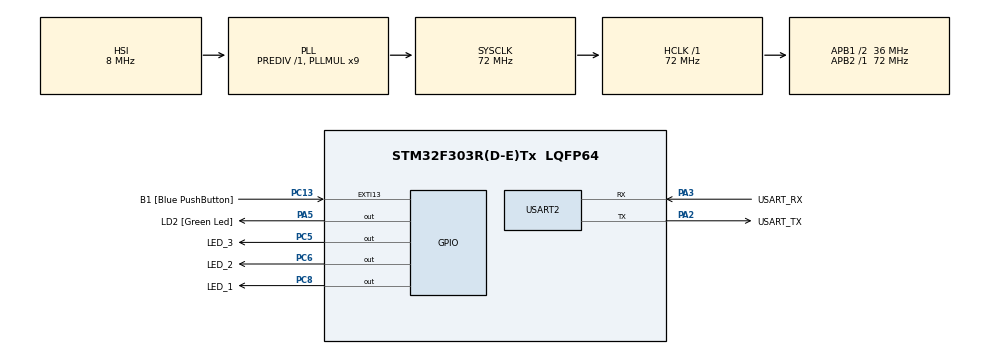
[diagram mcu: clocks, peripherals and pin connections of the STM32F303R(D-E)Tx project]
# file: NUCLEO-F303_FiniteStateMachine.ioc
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Mcu.Family=STM32F3
Mcu.Name=STM32F303R(D-E)Tx
Mcu.Package=LQFP64
NVIC.EXTI15_10_IRQn=true\:0\:0\:false\:false\:true\:true\:true\:true
NVIC.PriorityGroup=NVIC_PRIORITYGROUP_0
PA13.GPIO_Label=TMS
PA13.Mode=Serial_Wire
PA13.Signal=SYS_JTMS-SWDIO
PA14.GPIO_Label=TCK
PA14.Mode=Serial_Wire
PA14.Signal=SYS_JTCK-SWCLK
PA2.GPIO_Label=USART_TX
PA2.GPIO_Mode=GPIO_MODE_AF_PP
PA2.GPIO_PuPd=GPIO_NOPULL
PA2.GPIO_Speed=GPIO_SPEED_FREQ_LOW
PA2.Mode=Asynchronous
PA2.Signal=USART2_TX
PA3.GPIO_Label=USART_RX
PA3.GPIO_Mode=GPIO_MODE_AF_PP
PA3.GPIO_PuPd=GPIO_NOPULL
PA3.GPIO_Speed=GPIO_SPEED_FREQ_LOW
PA3.Mode=Asynchronous
PA3.Signal=USART2_RX
PA5.GPIO_Label=LD2 [Green Led]
PA5.GPIO_Mode=GPIO_MODE_OUTPUT_PP
PA5.GPIO_PuPd=GPIO_NOPULL
PA5.GPIO_Speed=GPIO_SPEED_FREQ_LOW
PA5.Signal=GPIO_Output
PB3.GPIO_Label=SWO
PB3.Signal=SYS_JTDO-TRACESWO
PC13.GPIO_Label=B1 [Blue PushButton]
PC13.GPIO_ModeDefaultEXTI=GPIO_MODE_IT_FALLING
PC13.Signal=GPXTI13
PC14-OSC32_IN.Mode=LSE-External-Oscillator
PC14-OSC32_IN.Signal=RCC_OSC32_IN
PC15-OSC32_OUT.Mode=LSE-External-Oscillator
PC15-OSC32_OUT.Signal=RCC_OSC32_OUT
PC5.GPIO_Label=LED_3
PC5.Signal=GPIO_Output
PC6.GPIO_Label=LED_2
PC6.Signal=GPIO_Output
PC8.GPIO_Label=LED_1
PC8.Signal=GPIO_Output
PF0-OSC_IN.Mode=HSE-External-Clock-Source
PF0-OSC_IN.Signal=RCC_OSC_IN
PF1-OSC_OUT.Signal=RCC_OSC_OUT
ProjectManager.HeapSize=0x200
ProjectManager.StackSize=0x400
ProjectManager.TargetToolchain=CMake
RCC.AHBFreq_Value=72000000
RCC.APB1CLKDivider=RCC_HCLK_DIV2
RCC.APB1Freq_Value=36000000
RCC.APB1TimFreq_Value=72000000
RCC.APB2Freq_Value=72000000
RCC.APB2TimFreq_Value=72000000
RCC.CortexFreq_Value=72000000
RCC.HCLKFreq_Value=72000000
RCC.HSE_VALUE=8000000
RCC.HSI_VALUE=8000000
RCC.PLLM=8
RCC.PLLMUL=RCC_PLL_MUL9
RCC.PLLN=336
RCC.PLLP=RCC_PLLP_DIV4
RCC.PLLQ=7
RCC.RCC_PLLsource_Clock_Source_FROM_HSE=RCC_HSE_PREDIV_DIV2
RCC.SYSCLKFreq_VALUE=72000000
RCC.SYSCLKSourceVirtual=RCC_SYSCLKSOURCE_PLLCLK
RCC.USBFreq_Value=72000000
USART2.VirtualMode-Asynchronous=VM_ASYNC
board=NUCLEO-F303RE

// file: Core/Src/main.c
/* USER CODE BEGIN Header */
/**
  ******************************************************************************
  * @file           : main.c
  * @brief          : Main program body
  ******************************************************************************
  * @attention
  *
  * Copyright (c) 2026 STMicroelectronics.
  * All rights reserved.
  *
  * This software is licensed under terms that can be found in the LICENSE file
  * in the root directory of this software component.
  * If no LICENSE file comes with this software, it is provided AS-IS.
  *
  ******************************************************************************
  */
/* USER CODE END Header */
#include "main.h"

/* USER CODE BEGIN Includes */
#include "fsm.h"
#include "stm32f3xx_hal_gpio.h"
/* USER CODE END Includes */

UART_HandleTypeDef huart2;

void SystemClock_Config(void);
static void MX_GPIO_Init(void);
static void MX_USART2_UART_Init(void);

int main(void)
{

  /* MCU Configuration--------------------------------------------------------*/

  /* Reset of all peripherals, Initializes the Flash interface and the Systick. */
  HAL_Init();

  /* Configure the system clock */
  SystemClock_Config();

  /* Initialize all configured peripherals */
  MX_GPIO_Init();
  MX_USART2_UART_Init();
  /* USER CODE BEGIN 2 */
  FSM_Config_HandleTypeDef fsm_config = {
    .LED1_Port = LED_1_GPIO_Port,
    .LED1_Pin  = LED_1_Pin,
    .LED2_Port = LED_2_GPIO_Port,
    .LED2_Pin  = LED_2_Pin,
    .LED3_Port = LED_3_GPIO_Port,
    .LED3_Pin  = LED_3_Pin,
    .Btn_Port  = B1_GPIO_Port,
    .Btn_Pin   = B1_Pin
  };

  FSM_Init(&fsm_config);
  /* USER CODE END 2 */

  /* Infinite loop */
  /* USER CODE BEGIN WHILE */
  while (1)
  {
    FSM_Process();
    /* USER CODE END WHILE */

  }
}

void SystemClock_Config(void)
{
  RCC_OscInitTypeDef RCC_OscInitStruct = {0};
  RCC_ClkInitTypeDef RCC_ClkInitStruct = {0};
  RCC_PeriphCLKInitTypeDef PeriphClkInit = {0};

  /** Initializes the RCC Oscillators according to the specified parameters
  * in the RCC_OscInitTypeDef structure.
  */
  RCC_OscInitStruct.OscillatorType = RCC_OSCILLATORTYPE_HSI;
  RCC_OscInitStruct.HSIState = RCC_HSI_ON;
  RCC_OscInitStruct.HSICalibrationValue = RCC_HSICALIBRATION_DEFAULT;
  RCC_OscInitStruct.PLL.PLLState = RCC_PLL_ON;
  RCC_OscInitStruct.PLL.PLLSource = RCC_PLLSOURCE_HSI;
  RCC_OscInitStruct.PLL.PLLMUL = RCC_PLL_MUL9;
  RCC_OscInitStruct.PLL.PREDIV = RCC_PREDIV_DIV1;
  if (HAL_RCC_OscConfig(&RCC_OscInitStruct) != HAL_OK)
  {
    Error_Handler();
  }

  /** Initializes the CPU, AHB and APB buses clocks
  */
  RCC_ClkInitStruct.ClockType = RCC_CLOCKTYPE_HCLK|RCC_CLOCKTYPE_SYSCLK
                              |RCC_CLOCKTYPE_PCLK1|RCC_CLOCKTYPE_PCLK2;
  RCC_ClkInitStruct.SYSCLKSource = RCC_SYSCLKSOURCE_PLLCLK;
  RCC_ClkInitStruct.AHBCLKDivider = RCC_SYSCLK_DIV1;
  RCC_ClkInitStruct.APB1CLKDivider = RCC_HCLK_DIV2;
  RCC_ClkInitStruct.APB2CLKDivider = RCC_HCLK_DIV1;

  if (HAL_RCC_ClockConfig(&RCC_ClkInitStruct, FLASH_LATENCY_2) != HAL_OK)
  {
    Error_Handler();
  }
  PeriphClkInit.PeriphClockSelection = RCC_PERIPHCLK_USART2;
  PeriphClkInit.Usart2ClockSelection = RCC_USART2CLKSOURCE_PCLK1;
  if (HAL_RCCEx_PeriphCLKConfig(&PeriphClkInit) != HAL_OK)
  {
    Error_Handler();
  }
}

static void MX_USART2_UART_Init(void)
{

  huart2.Instance = USART2;
  huart2.Init.BaudRate = 38400;
  huart2.Init.WordLength = UART_WORDLENGTH_8B;
  huart2.Init.StopBits = UART_STOPBITS_1;
  huart2.Init.Parity = UART_PARITY_NONE;
  huart2.Init.Mode = UART_MODE_TX_RX;
  huart2.Init.HwFlowCtl = UART_HWCONTROL_NONE;
  huart2.Init.OverSampling = UART_OVERSAMPLING_16;
  huart2.Init.OneBitSampling = UART_ONE_BIT_SAMPLE_DISABLE;
  huart2.AdvancedInit.AdvFeatureInit = UART_ADVFEATURE_NO_INIT;
  if (HAL_UART_Init(&huart2) != HAL_OK)
  {
    Error_Handler();
  }

}

static void MX_GPIO_Init(void)
{
  GPIO_InitTypeDef GPIO_InitStruct = {0};

  /* GPIO Ports Clock Enable */
  __HAL_RCC_GPIOC_CLK_ENABLE();
  __HAL_RCC_GPIOF_CLK_ENABLE();
  __HAL_RCC_GPIOA_CLK_ENABLE();
  __HAL_RCC_GPIOB_CLK_ENABLE();

  /*Configure GPIO pin Output Level */
  HAL_GPIO_WritePin(LD2_GPIO_Port, LD2_Pin, GPIO_PIN_RESET);

  /*Configure GPIO pin Output Level */
  HAL_GPIO_WritePin(GPIOC, LED_3_Pin|LED_2_Pin|LED_1_Pin, GPIO_PIN_RESET);

  /*Configure GPIO pin : B1_Pin */
  GPIO_InitStruct.Pin = B1_Pin;
  GPIO_InitStruct.Mode = GPIO_MODE_IT_FALLING;
  GPIO_InitStruct.Pull = GPIO_NOPULL;
  HAL_GPIO_Init(B1_GPIO_Port, &GPIO_InitStruct);

  /*Configure GPIO pin : LD2_Pin */
  GPIO_InitStruct.Pin = LD2_Pin;
  GPIO_InitStruct.Mode = GPIO_MODE_OUTPUT_PP;
  GPIO_InitStruct.Pull = GPIO_NOPULL;
  GPIO_InitStruct.Speed = GPIO_SPEED_FREQ_LOW;
  HAL_GPIO_Init(LD2_GPIO_Port, &GPIO_InitStruct);

  /*Configure GPIO pins : LED_3_Pin LED_2_Pin LED_1_Pin */
  GPIO_InitStruct.Pin = LED_3_Pin|LED_2_Pin|LED_1_Pin;
  GPIO_InitStruct.Mode = GPIO_MODE_OUTPUT_PP;
  GPIO_InitStruct.Pull = GPIO_NOPULL;
  GPIO_InitStruct.Speed = GPIO_SPEED_FREQ_LOW;
  HAL_GPIO_Init(GPIOC, &GPIO_InitStruct);

  /* EXTI interrupt init*/
  HAL_NVIC_SetPriority(EXTI15_10_IRQn, 0, 0);
  HAL_NVIC_EnableIRQ(EXTI15_10_IRQn);

}

/* USER CODE BEGIN 4 */
void HAL_GPIO_EXTI_Callback(uint16_t GPIO_Pin)
{
    if (GPIO_Pin == FSM_GetButtonPin())
    {
        Button_Process_EXTI_Callback(GPIO_Pin);
    }
}
/* USER CODE END 4 */

void Error_Handler(void)
{
  __disable_irq();
  while (1)
  {
  }
}
